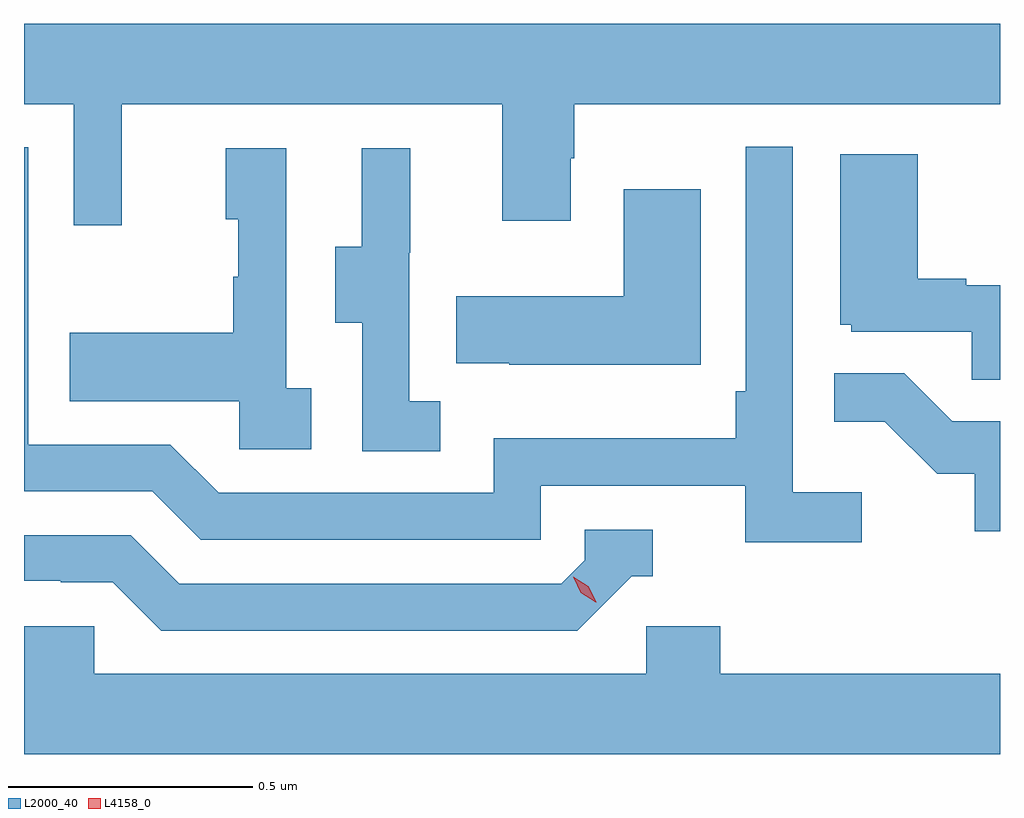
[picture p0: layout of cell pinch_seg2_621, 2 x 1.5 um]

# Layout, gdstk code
import gdstk
lib = gdstk.Library(unit=1e-6, precision=1e-09)
def P(c, l, *ps):  # polygons
    for p in ps: c.add(gdstk.Polygon(p, *l))
L2000_40 = (2000, 40)
L4158_0 = (4158, 0)

pinch_seg2_621 = lib.new_cell('pinch_seg2_621')
P(pinch_seg2_621, L2000_40, [(1016.817,619.664),(1016.919,619.664),(1016.919,619.416),(1017.017,619.416),(1017.017,619.664),(1017.797,619.664),(1017.797,619.425),(1017.937,619.425),(1017.937,619.553),(1017.945,619.553),(1017.945,619.664),(1018.817,619.664),(1018.817,619.828),(1016.817,619.828)],
  [(1018.534,618.868),(1018.392,618.868),(1018.392,619.576),(1018.296,619.576),(1018.296,619.075),(1018.276,619.075),(1018.276,618.979),(1017.78,618.979),(1017.78,618.867),(1017.216,618.867),(1017.117,618.966),(1016.826,618.966),(1016.826,619.575),(1016.817,619.575),(1016.817,618.87),(1017.08,618.87),(1017.179,618.771),(1017.876,618.771),(1017.876,618.882),(1018.295,618.882),(1018.295,618.766),(1018.534,618.766)],
  [(1017.406,619.082),(1017.354,619.082),(1017.354,619.573),(1017.23,619.573),(1017.23,619.428),(1017.256,619.428),(1017.256,619.31),(1017.246,619.31),(1017.246,619.195),(1016.911,619.195),(1016.911,619.055),(1017.258,619.055),(1017.258,618.957),(1017.406,618.957)],
  [(1017.67,619.055),(1017.606,619.055),(1017.606,619.359),(1017.608,619.359),(1017.608,619.573),(1017.509,619.573),(1017.509,619.371),(1017.455,619.371),(1017.455,619.216),(1017.51,619.216),(1017.51,618.952),(1017.67,618.952)],
  [(1018.817,619.293),(1018.748,619.293),(1018.748,619.306),(1018.648,619.306),(1018.648,619.561),(1018.49,619.561),(1018.49,619.212),(1018.512,619.212),(1018.512,619.197),(1018.759,619.197),(1018.759,619.099),(1018.817,619.099)],
  [(1018.204,619.489),(1018.046,619.489),(1018.046,619.27),(1017.703,619.27),(1017.703,619.133),(1017.811,619.133),(1017.811,619.13),(1018.204,619.13)],
  [(1018.817,619.014),(1018.719,619.014),(1018.621,619.112),(1018.477,619.112),(1018.477,619.013),(1018.581,619.013),(1018.688,618.906),(1018.765,618.906),(1018.765,618.789),(1018.817,618.789)],
  [(1018.062,618.696),(1018.105,618.696),(1018.105,618.792),(1017.966,618.792),(1017.966,618.729),(1017.918,618.681),(1017.135,618.681),(1017.036,618.78),(1016.817,618.78),(1016.817,618.687),(1016.892,618.687),(1016.892,618.684),(1016.999,618.684),(1017.098,618.585),(1017.951,618.585)],
  [(1018.817,618.496),(1018.244,618.496),(1018.244,618.594),(1018.092,618.594),(1018.092,618.496),(1016.961,618.496),(1016.961,618.594),(1016.817,618.594),(1016.817,618.332),(1018.817,618.332)])
P(pinch_seg2_621, L4158_0, [(1017.989,618.643),(1017.958,618.662),(1017.942,618.695),(1017.942,618.695),(1017.942,618.695),(1017.973,618.676),(1017.99,618.644),(1017.99,618.643)])

lib.write_gds('pinch_seg2_621.gds')
